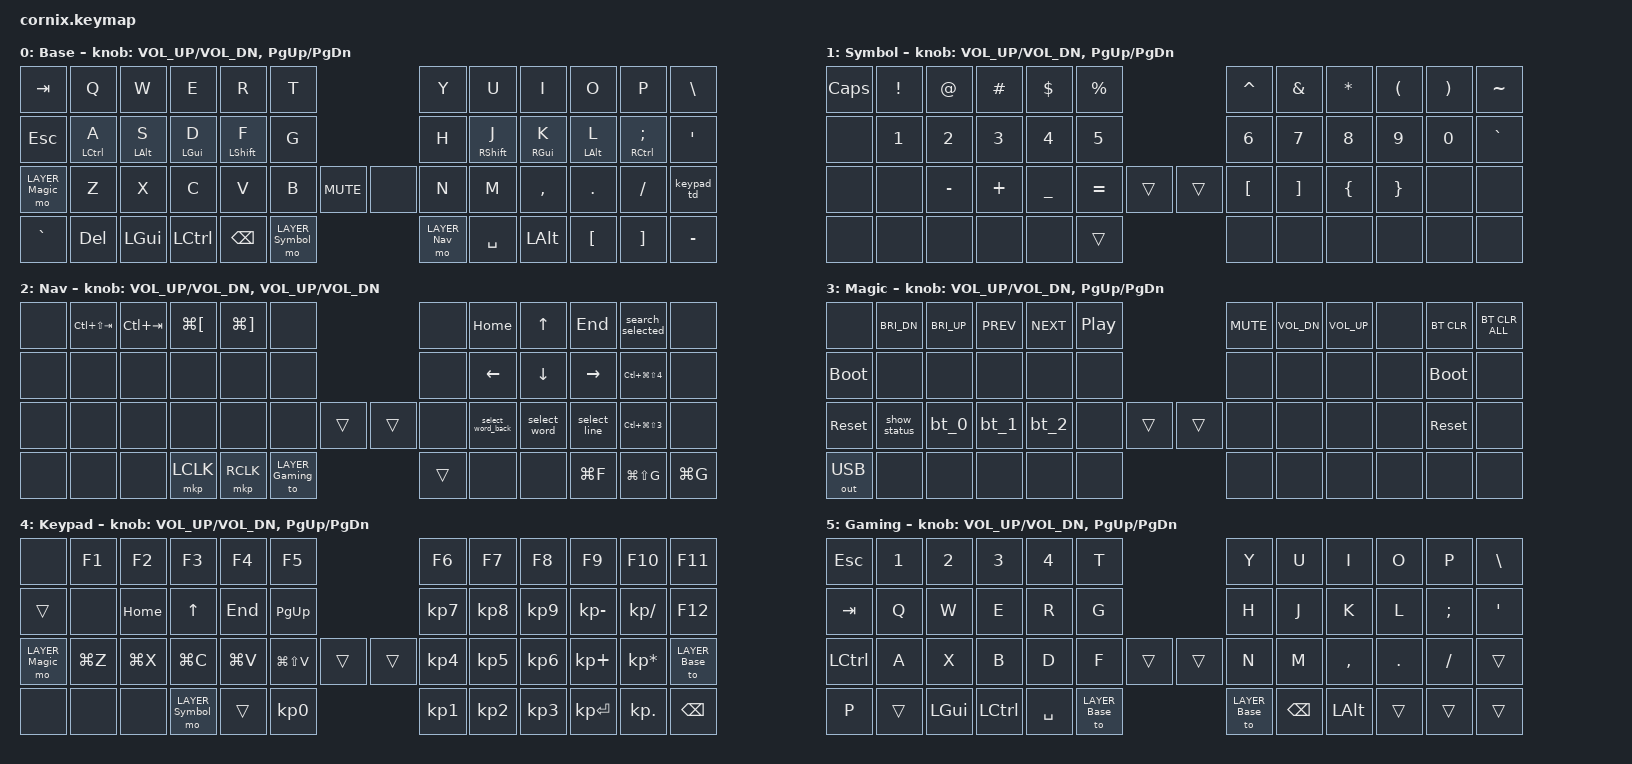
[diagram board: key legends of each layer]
/*
 * Copyright (c) 2020 The ZMK Contributors
 *
 * SPDX-License-Identifier: MIT
 */

#include <behaviors.dtsi>
#include <dt-bindings/zmk/bt.h>
#include <dt-bindings/zmk/ext_power.h>
#include <dt-bindings/zmk/keys.h>
#include <dt-bindings/zmk/outputs.h>
#include <dt-bindings/zmk/pointing.h>

#include "includes/cornix54.h"

// RGB status behaviors (&show_status etc). The module is passed to every build
// via ZMK_EXTRA_MODULES in build.yaml; without the indicator shield the
// behavior is a no-op, so referencing it unconditionally is safe.
// (Kconfig symbols like CONFIG_RGBLED_WIDGET are NOT visible in keymap
// preprocessing, so #if guards around bindings can never work.)
#include <behaviors/rgbled_widget.dtsi>

// layers
#define LAYER_Base 0
#define LAYER_Symbol 1
#define LAYER_Nav 2
#define LAYER_Magic 3
#define LAYER_Keypad 4
#define LAYER_Gaming 5

// Key positions per hand, used for positional home row mods.
// Left-hand keys trigger holds only when followed by a right-hand key or thumb,
// and vice versa, which prevents accidental mods during same-hand rolls.
#define KEYS_L 0 1 2 3 4 5 12 13 14 15 16 17 24 25 26 27 28 29 38 39 40
#define KEYS_R 6 7 8 9 10 11 18 19 20 21 22 23 32 33 34 35 36 37 47 48 49
#define THUMBS 30 31 41 42 43 44 45 46

#define ZMK_POINTING_DEFAULT_SCRL_VAL 15

/ {
    behaviors {
        // Per-finger home row mods. Hold for a modifier, tap for the letter.
        // Left-hand keys only trigger a hold when followed by a right-hand or
        // thumb key (and vice versa) to avoid mods during same-hand rolls.
        // Index fingers use a shorter require-prior-idle-ms since they are the
        // most dexterous and least prone to misfires.
        hml_pinky: home_row_mod_left_pinky {
            compatible = "zmk,behavior-hold-tap";
            #binding-cells = <2>;
            flavor = "balanced";
            tapping-term-ms = <220>;
            quick-tap-ms = <150>;
            require-prior-idle-ms = <150>;
            bindings = <&kp>, <&kp>;
            hold-trigger-key-positions = <KEYS_R THUMBS>;
        };

        hml_ring: home_row_mod_left_ring {
            compatible = "zmk,behavior-hold-tap";
            #binding-cells = <2>;
            flavor = "balanced";
            tapping-term-ms = <220>;
            quick-tap-ms = <150>;
            require-prior-idle-ms = <150>;
            bindings = <&kp>, <&kp>;
            hold-trigger-key-positions = <KEYS_R THUMBS>;
        };

        hml_middle: home_row_mod_left_middle {
            compatible = "zmk,behavior-hold-tap";
            #binding-cells = <2>;
            flavor = "balanced";
            tapping-term-ms = <220>;
            quick-tap-ms = <150>;
            require-prior-idle-ms = <150>;
            bindings = <&kp>, <&kp>;
            hold-trigger-key-positions = <KEYS_R THUMBS>;
        };

        hml_index: home_row_mod_left_index {
            compatible = "zmk,behavior-hold-tap";
            #binding-cells = <2>;
            flavor = "balanced";
            tapping-term-ms = <220>;
            quick-tap-ms = <150>;
            require-prior-idle-ms = <100>;
            bindings = <&kp>, <&kp>;
            hold-trigger-key-positions = <KEYS_R THUMBS>;
        };

        hmr_index: home_row_mod_right_index {
            compatible = "zmk,behavior-hold-tap";
            #binding-cells = <2>;
            flavor = "balanced";
            tapping-term-ms = <220>;
            quick-tap-ms = <150>;
            require-prior-idle-ms = <100>;
            bindings = <&kp>, <&kp>;
            hold-trigger-key-positions = <KEYS_L THUMBS>;
        };

        hmr_middle: home_row_mod_right_middle {
            compatible = "zmk,behavior-hold-tap";
            #binding-cells = <2>;
            flavor = "balanced";
            tapping-term-ms = <220>;
            quick-tap-ms = <150>;
            require-prior-idle-ms = <150>;
            bindings = <&kp>, <&kp>;
            hold-trigger-key-positions = <KEYS_L THUMBS>;
        };

        hmr_ring: home_row_mod_right_ring {
            compatible = "zmk,behavior-hold-tap";
            #binding-cells = <2>;
            flavor = "balanced";
            tapping-term-ms = <220>;
            quick-tap-ms = <150>;
            require-prior-idle-ms = <150>;
            bindings = <&kp>, <&kp>;
            hold-trigger-key-positions = <KEYS_L THUMBS>;
        };

        hmr_pinky: home_row_mod_right_pinky {
            compatible = "zmk,behavior-hold-tap";
            #binding-cells = <2>;
            flavor = "balanced";
            tapping-term-ms = <220>;
            quick-tap-ms = <150>;
            require-prior-idle-ms = <150>;
            bindings = <&kp>, <&kp>;
            hold-trigger-key-positions = <KEYS_L THUMBS>;
        };

        keypad_td: keypad_td {
            compatible = "zmk,behavior-tap-dance";
            #binding-cells = <0>;
            tapping-term-ms = <200>;
            bindings = <&mo LAYER_Keypad>, <&to LAYER_Keypad>;
        };

        // Single tap: switch to that BT profile (host).
        // Double tap: select that profile and clear its bond so the keyboard
        // advertises for a new pairing (needed for iPad / second PC, etc.).
        // BT_DISC alone does not put the keyboard into pairing mode.
        bt_0: bt_0 {
            compatible = "zmk,behavior-tap-dance";
            #binding-cells = <0>;
            tapping-term-ms = <200>;
            bindings = <&bt_select_0>, <&bt_pair_0>;
        };
        bt_1: bt_1 {
            compatible = "zmk,behavior-tap-dance";
            #binding-cells = <0>;
            tapping-term-ms = <200>;
            bindings = <&bt_select_1>, <&bt_pair_1>;
        };
        bt_2: bt_2 {
            compatible = "zmk,behavior-tap-dance";
            #binding-cells = <0>;
            tapping-term-ms = <200>;
            bindings = <&bt_select_2>, <&bt_pair_2>;
        };
        bt_3: bt_3 {
            compatible = "zmk,behavior-tap-dance";
            #binding-cells = <0>;
            tapping-term-ms = <200>;
            bindings = <&bt_select_3>, <&bt_pair_3>;
        };
    };

    macros {
        bt_select_0: bt_select_0 {
            compatible = "zmk,behavior-macro";
            #binding-cells = <0>;
            bindings
                = <&out OUT_BLE>,
                  <&bt BT_SEL 0>;
        };
        bt_select_1: bt_select_1 {
            compatible = "zmk,behavior-macro";
            #binding-cells = <0>;
            bindings
                = <&out OUT_BLE>,
                  <&bt BT_SEL 1>;
        };
        bt_select_2: bt_select_2 {
            compatible = "zmk,behavior-macro";
            #binding-cells = <0>;
            bindings
                = <&out OUT_BLE>,
                  <&bt BT_SEL 2>;
        };
        bt_select_3: bt_select_3 {
            compatible = "zmk,behavior-macro";
            #binding-cells = <0>;
            bindings
                = <&out OUT_BLE>,
                  <&bt BT_SEL 3>;
        };

        // Clear a specific profile so it advertises for a new host (pairing mode).
        bt_pair_0: bt_pair_0 {
            compatible = "zmk,behavior-macro";
            #binding-cells = <0>;
            wait-ms = <50>;
            bindings
                = <&out OUT_BLE>,
                  <&bt BT_SEL 0>,
                  <&bt BT_CLR>;
        };
        bt_pair_1: bt_pair_1 {
            compatible = "zmk,behavior-macro";
            #binding-cells = <0>;
            wait-ms = <50>;
            bindings
                = <&out OUT_BLE>,
                  <&bt BT_SEL 1>,
                  <&bt BT_CLR>;
        };
        bt_pair_2: bt_pair_2 {
            compatible = "zmk,behavior-macro";
            #binding-cells = <0>;
            wait-ms = <50>;
            bindings
                = <&out OUT_BLE>,
                  <&bt BT_SEL 2>,
                  <&bt BT_CLR>;
        };
        bt_pair_3: bt_pair_3 {
            compatible = "zmk,behavior-macro";
            #binding-cells = <0>;
            wait-ms = <50>;
            bindings
                = <&out OUT_BLE>,
                  <&bt BT_SEL 3>,
                  <&bt BT_CLR>;
        };

        // macOS "select whole line": jump to line start, then select to line end.
        select_line: select_line {
            compatible = "zmk,behavior-macro";
            #binding-cells = <0>;
            wait-ms = <5>;
            tap-ms = <5>;
            bindings = <&kp LG(LEFT)>, <&kp LG(LS(RIGHT))>;
        };

        // "Search selected text": copy selection, open a new browser tab,
        // paste, and hit Enter to run the search.
        search_selected: search_selected {
            compatible = "zmk,behavior-macro";
            #binding-cells = <0>;
            wait-ms = <50>;
            tap-ms = <5>;
            bindings = <&kp LG(C)>, <&kp LG(T)>, <&kp LG(V)>, <&kp RET>;
        };

        // Select whole word forward (macOS).
        select_word: select_word {
            compatible = "zmk,behavior-macro";
            #binding-cells = <0>;
            wait-ms = <5>;
            tap-ms = <5>;
            bindings = <&kp LA(RIGHT)>, <&kp LA(LEFT)>, <&kp LA(LS(RIGHT))>;
        };

        // Select whole word backward.
        select_word_back: select_word_back {
            compatible = "zmk,behavior-macro";
            #binding-cells = <0>;
            wait-ms = <5>;
            tap-ms = <5>;
            bindings = <&kp LA(LEFT)>, <&kp LA(RIGHT)>, <&kp LA(LS(LEFT))>;
        };
    };

    combos {
        compatible = "zmk,combos";

        // Press K + L together (within 60ms) to send Enter.
        combo_enter {
            timeout-ms = <60>;
            key-positions = <20 21>;
            bindings = <&kp RET>;
            layers = <LAYER_Base LAYER_Gaming>;
        };

    };

    keymap {
        compatible = "zmk,keymap";

        // Cornix has no number row; alpha + thumbs only.
        // Thumbs: Ctrl Bspc Symbol | Nav Space Alt
        // Palms: Grave Del Gui | [ ] -
        layer_Base {
            display-name = "Base";
            bindings = <
&kp TAB             &kp Q              &kp W            &kp E              &kp R             &kp T                        &kp Y      &kp U               &kp I             &kp O            &kp P              &kp BSLH
&kp ESC             &hml_pinky LCTRL A &hml_ring LALT S &hml_middle LGUI D &hml_index LSHFT F &kp G                        &kp H      &hmr_index RSHFT J  &hmr_middle RGUI K &hmr_ring LALT L &hmr_pinky RCTRL SEMI &kp SQT
&mo LAYER_Magic     &kp Z              &kp X            &kp C              &kp V             &kp B         &kp C_MUTE  &none  &kp N      &kp M               &kp COMMA         &kp DOT          &kp FSLH           &keypad_td
&kp GRAVE           &kp DEL            &kp LGUI         &kp LCTRL          &kp BSPC          &mo LAYER_Symbol              &mo LAYER_Nav &kp SPACE         &kp LALT          &kp LBKT         &kp RBKT           &kp MINUS
            >;
            sensor-bindings = <&inc_dec_kp C_VOL_UP C_VOL_DN &inc_dec_kp PG_UP PG_DN>;
        };

        // Top row = symbols (!@#$%...), home = numbers, bottom = brackets/ops.
        // Momentary-only via left thumb Symbol key.
        layer_Symbol {
            display-name = "Symbol";
            bindings = <
&kp CAPS  &kp EXCL  &kp AT     &kp HASH  &kp DLLR  &kp PRCNT                  &kp CARET  &kp AMPS  &kp STAR  &kp LPAR  &kp RPAR  &kp TILDE
&none     &kp N1    &kp N2     &kp N3    &kp N4    &kp N5                     &kp N6     &kp N7    &kp N8    &kp N9    &kp N0    &kp GRAVE
&none     &none     &kp MINUS  &kp PLUS  &kp UNDER &kp EQUAL   &trans  &trans  &kp LBKT   &kp RBKT  &kp LBRC  &kp RBRC  &none     &none
&none     &none     &none      &none     &none     &trans                     &none      &none     &none     &none     &none     &none
            >;
            sensor-bindings = <&inc_dec_kp C_VOL_UP C_VOL_DN &inc_dec_kp PG_UP PG_DN>;
        };

        // Navigation layer (hold the right thumb Nav key). All shortcuts are macOS.
        //   Tabs:    q=prev tab   w=next tab
        //   Browser: e=back       r=forward
        //   Arrows:  i=up j=left k=down l=right    (vim-ish on the right hand)
        //   Home/End: u=home   o=end
        //   Select:  m=word back  ,=word fwd       .=whole line
        //   Search:  p=search selected text        find/prev/next on palms
        //   Screens: ;=copy area screenshot        /=copy full screenshot
        // Gaming: hold Nav + Symbol thumb → Gaming layer.
        // Left hand click keys remain (Cornix has no trackpad); mouse move,
        // scroll, and page up/down were removed from this layer.
        layer_Nav {
            display-name = "Nav";
            bindings = <
&none  &kp LC(LS(TAB)) &kp LC(TAB)     &kp LG(LBKT)    &kp LG(RBKT)    &none                          &none      &kp HOME          &kp UP    &kp END       &search_selected    &none
&none  &none           &none           &none           &none           &none                          &none      &kp LEFT          &kp DOWN  &kp RIGHT     &kp LC(LG(LS(N4))) &none
&none  &none           &none           &none           &none           &none           &trans  &trans  &none      &select_word_back &select_word &select_line &kp LC(LG(LS(N3))) &none
&none  &none           &none           &mkp LCLK       &mkp RCLK       &to LAYER_Gaming               &trans     &none             &none     &kp LG(F)     &kp LG(LS(G))       &kp LG(G)
            >;
            sensor-bindings = <&inc_dec_kp C_VOL_UP C_VOL_DN &inc_dec_kp C_VOL_UP C_VOL_DN>;
        };

        // Magic / system layer (hold the key left of Z on row 3).
        layer_Magic {
            display-name = "Magic";
            bindings = <
&none           &kp C_BRI_DN  &kp C_BRI_UP  &kp C_PREV  &kp C_NEXT  &kp C_PP                     &kp C_MUTE  &kp C_VOL_DN  &kp C_VOL_UP  &none  &bt BT_CLR  &bt BT_CLR_ALL
&bootloader     &none         &none         &none       &none       &none                        &none       &none         &none         &none  &bootloader  &none
&sys_reset      &show_status  &bt_0         &bt_1       &bt_2       &none         &trans  &trans  &none       &none         &none         &none  &sys_reset  &none
&out OUT_USB    &none         &none         &none       &none       &none                        &none       &none         &none         &none  &none  &none
            >;
            sensor-bindings = <&inc_dec_kp C_VOL_UP C_VOL_DN &inc_dec_kp PG_UP PG_DN>;
        };

        // Keypad: tap-dance on bottom-right (hold = momentary, double-tap = lock).
        // Exit lock with &to LAYER_Base on the bottom-right key.
        layer_Keypad {
            display-name = "Keypad";
            bindings = <
&none             &kp F1      &kp F2     &kp F3     &kp F4         &kp F5                       &kp F6     &kp F7     &kp F8       &kp F9       &kp F10         &kp F11
&trans            &none       &kp HOME   &kp UP     &kp END        &kp PG_UP                    &kp KP_N7  &kp KP_N8  &kp KP_N9    &kp KP_MINUS  &kp KP_SLASH    &kp F12
&mo LAYER_Magic   &kp LG(Z)   &kp LG(X)  &kp LG(C)  &kp LG(V)      &kp LG(LS(V)) &trans  &trans  &kp KP_N4  &kp KP_N5  &kp KP_N6    &kp KP_PLUS   &kp KP_MULTIPLY &to LAYER_Base
&none             &none       &none      &mo LAYER_Symbol &trans    &kp KP_N0                    &kp KP_N1  &kp KP_N2  &kp KP_N3    &kp KP_ENTER  &kp KP_DOT      &kp BSPC
            >;
            sensor-bindings = <&inc_dec_kp C_VOL_UP C_VOL_DN &inc_dec_kp PG_UP PG_DN>;
        };

        // Gaming layer (sticky): hold Nav + Symbol thumb to enter.
        // Left cluster for home-row gaming:
        //   Q W E R T → 1 2 3 4 5
        //   A S D F G → Q W E R T
        //   Z → A; V B → D F
        //   Below Esc → LCtrl; LCtrl stays left of Bspc
        // Right hand keeps normal keys (incl. P); K+L combo = Enter.
        // Tap Nav or Symbol thumb to return to Base. No home-row mods.
        layer_Gaming {
            display-name = "Gaming";
            bindings = <
&kp ESC   &kp N1  &kp N2  &kp N3  &kp N4  &kp T                        &kp Y   &kp U   &kp I    &kp O    &kp P    &kp BSLH
&kp TAB   &kp Q   &kp W   &kp E   &kp R   &kp G                        &kp H   &kp J   &kp K    &kp L    &kp SEMI &kp SQT
&kp LCTRL &kp A   &kp X   &kp B   &kp D   &kp F         &trans  &trans  &kp N   &kp M   &kp COMMA &kp DOT &kp FSLH &trans
&kp P     &trans  &kp LGUI &kp LCTRL &kp SPACE &to LAYER_Base           &to LAYER_Base &kp BSPC &kp LALT &trans &trans &trans
            >;
            sensor-bindings = <&inc_dec_kp C_VOL_UP C_VOL_DN &inc_dec_kp PG_UP PG_DN>;
        };
    };
};
